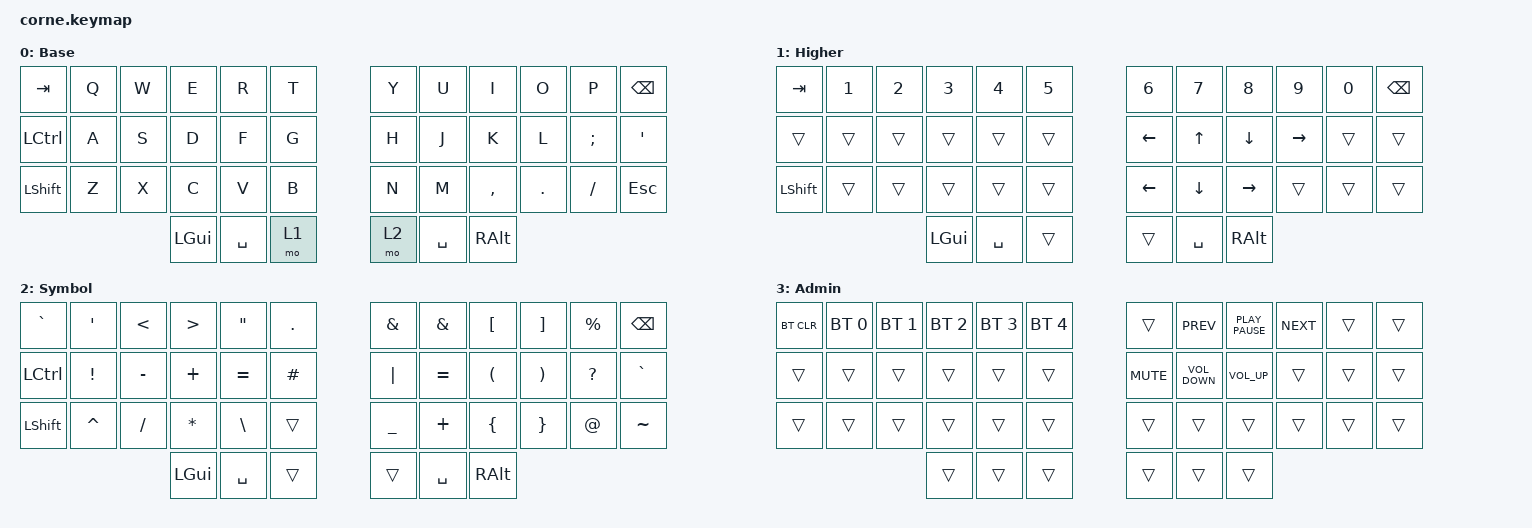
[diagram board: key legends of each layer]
/*
 * Copyright (c) 2020 The ZMK Contributors
 *
 * SPDX-License-Identifier: MIT
 */

#include <behaviors.dtsi>
#include <dt-bindings/zmk/bt.h>
#include <dt-bindings/zmk/keys.h>

/ {
    combos {
        compatible = "zmk,combos";

        return {
            bindings = <&kp RET>;
            key-positions = <19 20>;
        };
    };

    keymap {
        compatible = "zmk,keymap";

        default_layer {
            // -----------------------------------------------------------------------------------------
            // |  TAB |  Q  |  W  |  E  |  R  |  T  |   |  Y  |  U   |  I  |  O  |  P  | BKSP |
            // | CTRL |  A  |  S  |  D  |  F  |  G  |   |  H  |  J   |  K  |  L  |  ;  |  '   |
            // | SHFT |  Z  |  X  |  C  |  V  |  B  |   |  N  |  M   |  ,  |  .  |  /  | ESC  |
            //                    | GUI | LWR | SPC |   | ENT | RSE  | ALT |

            label = "Base";
            bindings = <
&kp TAB    &kp Q  &kp W  &kp E     &kp R      &kp T    &kp Y  &kp U      &kp I      &kp O    &kp P     &kp BSPC
&kp LCTRL  &kp A  &kp S  &kp D     &kp F      &kp G    &kp H  &kp J      &kp K      &kp L    &kp SEMI  &kp SQT
&kp LSHFT  &kp Z  &kp X  &kp C     &kp V      &kp B    &kp N  &kp M      &kp COMMA  &kp DOT  &kp FSLH  &kp ESC
                         &kp LGUI  &kp SPACE  &mo 1    &mo 2  &kp SPACE  &kp RALT
            >;
        };

        higher_layer {
            // -----------------------------------------------------------------------------------------
            // |  TAB |  1  |  2  |  3  |  4  |  5  |   |  6  |  7  |  8  |  9  |  0  | BKSP |
            // | BTCLR| BT1 | BT2 | BT3 | BT4 | BT5 |   | LFT | DWN |  UP | RGT |     |      |
            // | SHFT |     |     |     |     |     |   |     |     |     |     |     |      |
            //                    | GUI |     | SPC |   | ENT |     | ALT |

            label = "Higher";
            bindings = <
&kp TAB    &kp N1  &kp N2  &kp N3    &kp N4     &kp N5    &kp N6    &kp N7     &kp N8     &kp N9     &kp N0  &kp BSPC
&trans     &trans  &trans  &trans    &trans     &trans    &kp LEFT  &kp UP     &kp DOWN   &kp RIGHT  &trans  &trans
&kp LSHFT  &trans  &trans  &trans    &trans     &trans    &kp LEFT  &kp DOWN   &kp RIGHT  &trans     &trans  &trans
                           &kp LGUI  &kp SPACE  &trans    &trans    &kp SPACE  &kp RALT
            >;
        };

        symbol_layer {
            // -----------------------------------------------------------------------------------------
            // |  TAB |  !  |  @  |  #  |  $  |  %  |   |  ^  |  &  |  *  |  (  |  )  | BKSP |
            // | CTRL |     |     |     |     |     |   |  -  |  =  |  [  |  ]  |  \  |  `   |
            // | SHFT |     |     |     |     |     |   |  _  |  +  |  {  |  }  | "|" |  ~   |
            //                    | GUI |     | SPC |   | ENT |     | ALT |

            label = "Symbol";
            bindings = <
&kp GRAVE  &kp SQT          &kp LESS_THAN  &kp GREATER_THAN  &kp DOUBLE_QUOTES  &kp PERIOD    &kp AMPS   &kp AMPS   &kp LEFT_BRACKET      &kp RIGHT_BRACKET      &kp PERCENT   &kp BSPC
&kp LCTRL  &kp EXCLAMATION  &kp MINUS      &kp PLUS          &kp EQUAL          &kp HASH      &kp PIPE   &kp EQUAL  &kp LEFT_PARENTHESIS  &kp RIGHT_PARENTHESIS  &kp QUESTION  &kp GRAVE
&kp LSHFT  &kp CARET        &kp SLASH      &kp ASTERISK      &kp BACKSLASH      &trans        &kp UNDER  &kp PLUS   &kp LBRC              &kp RBRC               &kp AT_SIGN   &kp TILDE
                                           &kp LGUI          &kp SPACE          &trans        &trans     &kp SPACE  &kp RALT
            >;
        };

        admin_layer {
            bindings = <
&bt BT_CLR  &bt BT_SEL 0  &bt BT_SEL 1  &bt BT_SEL 2  &bt BT_SEL 3  &bt BT_SEL 4    &trans      &kp K_PREV         &kp K_PLAY_PAUSE  &kp K_NEXT  &trans  &trans
&trans      &trans        &trans        &trans        &trans        &trans          &kp K_MUTE  &kp C_VOLUME_DOWN  &kp C_VOLUME_UP   &trans      &trans  &trans
&trans      &trans        &trans        &trans        &trans        &trans          &trans      &trans             &trans            &trans      &trans  &trans
                                        &trans        &trans        &trans          &trans      &trans             &trans
            >;

            label = "Admin";
        };
    };

    conditional_layers {
        compatible = "zmk,conditional-layers";

        admin_layer {
            if-layers = <1 2>;
            then-layer = <3>;
        };
    };
};
